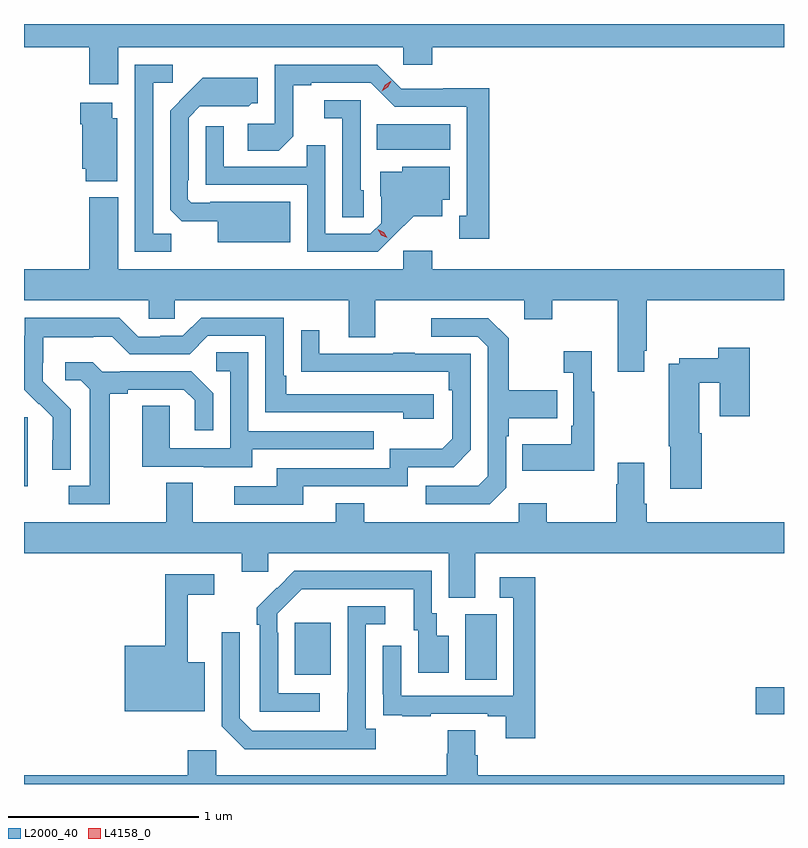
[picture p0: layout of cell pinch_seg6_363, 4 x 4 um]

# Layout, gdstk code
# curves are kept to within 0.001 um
import gdstk
lib = gdstk.Library(unit=1e-6, precision=1e-09)
def R(c, l, rs):  # rectangles x0, y0, x1, y1
    for r in rs: c.add(gdstk.rectangle(r[:2], r[2:], *l))
def P(c, l, *ps):  # polygons
    for p in ps: c.add(gdstk.Polygon(p, *l))
L2000_40 = (2000, 40)
L4158_0 = (4158, 0)

pinch_seg6_363 = lib.new_cell('pinch_seg6_363')
R(pinch_seg6_363, L2000_40, [(638.418,935.833,638.567,935.975), (636.89,936.016,637.054,936.36), (635.993,936.041,636.181,936.316), (634.567,937.034,634.588,937.395), (636.424,938.804,636.811,938.938)])
P(pinch_seg6_363, L2000_40, [(635.062,939.344),(636.564,939.344),(636.564,939.251),(636.716,939.251),(636.716,939.344),(638.567,939.344),(638.567,939.466),(634.567,939.466),(634.567,939.344),(634.91,939.344),(634.91,939.15),(635.062,939.15)],
  [(637.015,939.128),(636.774,939.128),(636.774,939.126),(636.552,939.126),(636.426,939.252),(635.886,939.252),(635.886,938.94),(635.745,938.94),(635.745,938.8),(635.909,938.8),(635.985,938.876),(635.985,939.144),(636.079,939.144),(636.079,939.156),(636.393,939.156),(636.519,939.03),(636.896,939.03),(636.896,938.457),(636.857,938.457),(636.857,938.337),(637.015,938.337)],
  [(635.343,938.363),(635.247,938.363),(635.247,939.156),(635.35,939.156),(635.35,939.252),(635.151,939.252),(635.151,938.268),(635.343,938.268)],
  [(635.968,938.53),(635.548,938.53),(635.548,938.526),(635.448,938.526),(635.43,938.544),(635.43,938.644),(635.433,938.644),(635.433,938.973),(635.493,939.033),(635.75,939.032),(635.766,939.048),(635.797,939.048),(635.797,939.184),(635.509,939.184),(635.337,939.01),(635.337,938.488),(635.396,938.429),(635.588,938.429),(635.588,938.318),(635.968,938.318)],
  [(636.354,938.592),(636.339,938.592),(636.339,939.066),(636.147,939.066),(636.147,938.969),(636.243,938.969),(636.243,938.449),(636.354,938.449)],
  [(635.059,938.97),(635.032,938.97),(635.032,939.052),(634.862,939.052),(634.862,938.939),(634.874,938.939),(634.874,938.703),(634.892,938.703),(634.892,938.639),(635.059,938.639)],
  [(636.514,938.351),(636.617,938.453),(636.769,938.453),(636.769,938.54),(636.808,938.54),(636.808,938.716),(636.558,938.716),(636.558,938.689),(636.443,938.689),(636.443,938.56),(636.447,938.56),(636.447,938.418),(636.39,938.361),(636.153,938.361),(636.153,938.828),(636.055,938.828),(636.055,938.715),(635.619,938.715),(635.619,938.929),(635.523,938.929),(635.523,938.619),(636.057,938.619),(636.057,938.268),(636.43,938.268)],
  [(637.831,937.747),(637.844,937.747),(637.844,938.012),(638.567,938.012),(638.567,938.176),(636.716,938.176),(636.716,938.272),(636.564,938.272),(636.564,938.176),(635.062,938.176),(635.062,938.554),(634.91,938.554),(634.91,938.176),(634.567,938.176),(634.567,938.012),(635.223,938.012),(635.223,937.914),(635.361,937.914),(635.361,938.012),(636.275,938.012),(636.275,937.818),(636.415,937.818),(636.415,938.012),(637.199,938.012),(637.199,937.913),(637.347,937.913),(637.347,938.012),(637.691,938.012),(637.691,937.635),(637.831,937.635)],
  [(634.812,937.438),(634.666,937.586),(634.666,937.683),(634.668,937.683),(634.668,937.817),(634.931,937.817),(634.931,937.821),(635.031,937.821),(635.124,937.728),(635.439,937.728),(635.535,937.824),(635.838,937.824),(635.838,937.422),(636.563,937.422),(636.563,937.388),(636.724,937.388),(636.724,937.518),(635.947,937.518),(635.947,937.615),(635.934,937.615),(635.934,937.92),(635.499,937.92),(635.403,937.824),(635.285,937.824),(635.285,937.821),(635.169,937.821),(635.069,937.921),(634.572,937.921),(634.572,937.824),(634.567,937.824),(634.567,937.541),(634.644,937.464),(634.647,937.467),(634.718,937.397),(634.718,937.274),(634.716,937.274),(634.716,937.12),(634.812,937.12)],
  [(637.104,937.026),(637.104,937.295),(637.117,937.295),(637.117,937.391),(637.373,937.391),(637.373,937.539),(637.117,937.539),(637.117,937.811),(637.011,937.917),(636.711,937.917),(636.711,937.821),(636.954,937.821),(637.008,937.767),(637.008,937.086),(636.957,937.035),(636.681,937.035),(636.681,936.939),(637.017,936.939)],
  [(636.037,937.032),(636.588,937.032),(636.588,937.134),(636.828,937.134),(636.918,937.224),(636.918,937.731),(636.623,937.731),(636.623,937.736),(636.511,937.736),(636.511,937.731),(636.121,937.731),(636.121,937.855),(636.025,937.855),(636.025,937.636),(636.802,937.635),(636.802,937.538),(636.822,937.538),(636.822,937.284),(636.769,937.231),(636.492,937.231),(636.492,937.128),(635.897,937.128),(635.897,937.032),(635.673,937.032),(635.673,936.936),(636.037,936.936)],
  [(638.135,937.313),(638.122,937.313),(638.122,937.577),(638.228,937.577),(638.228,937.401),(638.386,937.401),(638.386,937.762),(638.221,937.762),(638.221,937.707),(638.016,937.707),(638.016,937.678),(637.96,937.678),(637.96,937.243),(637.967,937.243),(637.967,937.02),(638.135,937.02)],
  [(637.567,937.531),(637.555,937.531),(637.555,937.744),(637.407,937.744),(637.407,937.631),(637.458,937.631),(637.458,937.351),(637.446,937.351),(637.446,937.255),(637.189,937.255),(637.189,937.115),(637.567,937.115)],
  [(635.767,937.227),(636.407,937.227),(636.407,937.323),(635.748,937.323),(635.748,937.739),(635.58,937.739),(635.58,937.638),(635.652,937.638),(635.652,937.233),(635.334,937.233),(635.334,937.457),(635.189,937.457),(635.189,937.137),(635.513,937.137),(635.513,937.133),(635.767,937.133)],
  [(635.017,937.52),(635.113,937.52),(635.113,937.542),(635.408,937.542),(635.465,937.485),(635.465,937.329),(635.562,937.329),(635.562,937.522),(635.446,937.638),(635.074,937.638),(635.074,937.635),(634.98,937.635),(634.928,937.687),(634.785,937.687),(634.785,937.59),(634.866,937.59),(634.913,937.543),(634.913,937.035),(634.803,937.035),(634.803,936.939),(635.017,936.939)],
  [(636.943,936.68),(638.567,936.68),(638.567,936.844),(637.844,936.844),(637.844,936.94),(637.831,936.94),(637.831,937.156),(637.691,937.156),(637.691,937.043),(637.684,937.043),(637.684,936.844),(637.317,936.844),(637.317,936.943),(637.17,936.943),(637.17,936.844),(636.357,936.844),(636.357,936.943),(636.209,936.943),(636.209,936.844),(635.455,936.844),(635.455,937.052),(635.315,937.052),(635.315,936.844),(634.567,936.844),(634.567,936.68),(635.714,936.68),(635.714,936.582),(635.853,936.582),(635.853,936.68),(636.803,936.68),(636.803,936.445),(636.943,936.445)],
  [(636.124,935.943),(635.904,935.943),(635.904,936.263),(635.901,936.263),(635.901,936.363),(636.03,936.492),(636.617,936.492),(636.617,936.276),(636.641,936.276),(636.641,936.051),(636.802,936.051),(636.802,936.247),(636.739,936.247),(636.739,936.366),(636.714,936.366),(636.714,936.588),(635.99,936.588),(635.793,936.393),(635.793,936.305),(635.808,936.305),(635.808,935.847),(636.124,935.847)],
  [(635.518,936.106),(635.429,936.106),(635.429,936.462),(635.569,936.462),(635.569,936.57),(635.311,936.57),(635.311,936.193),(635.096,936.193),(635.096,935.849),(635.518,935.849)],
  [(637.259,936.553),(637.071,936.553),(637.071,936.447),(637.143,936.447),(637.143,935.931),(636.552,935.931),(636.552,936.193),(636.456,936.193),(636.456,935.938),(636.457,935.938),(636.457,935.829),(636.559,935.829),(636.559,935.823),(636.707,935.823),(636.707,935.835),(637.007,935.835),(637.007,935.823),(637.103,935.823),(637.103,935.706),(637.259,935.706)],
  [(636.418,935.758),(636.366,935.758),(636.366,936.306),(636.469,936.306),(636.469,936.402),(636.27,936.402),(636.269,935.745),(635.769,935.745),(635.703,935.811),(635.703,936.265),(635.607,936.265),(635.607,935.769),(635.728,935.648),(636.418,935.648)],
  [(638.567,935.512),(636.956,935.512),(636.956,935.618),(636.943,935.618),(636.943,935.75),(636.796,935.75),(636.796,935.625),(636.791,935.625),(636.791,935.512),(635.58,935.512),(635.58,935.644),(635.429,935.644),(635.429,935.512),(634.567,935.512),(634.567,935.466),(638.567,935.466)])
P(pinch_seg6_363, L4158_0, [(636.45,939.113),(636.45,939.113),(636.467,939.146),(636.498,939.165),(636.499,939.165),(636.499,939.165),(636.481,939.132),(636.45,939.113)],
  [(636.479,938.34),(636.448,938.355),(636.43,938.385),(636.43,938.385),(636.43,938.385),(636.461,938.37),(636.479,938.34),(636.479,938.34)])

lib.write_gds('pinch_seg6_363.gds')
